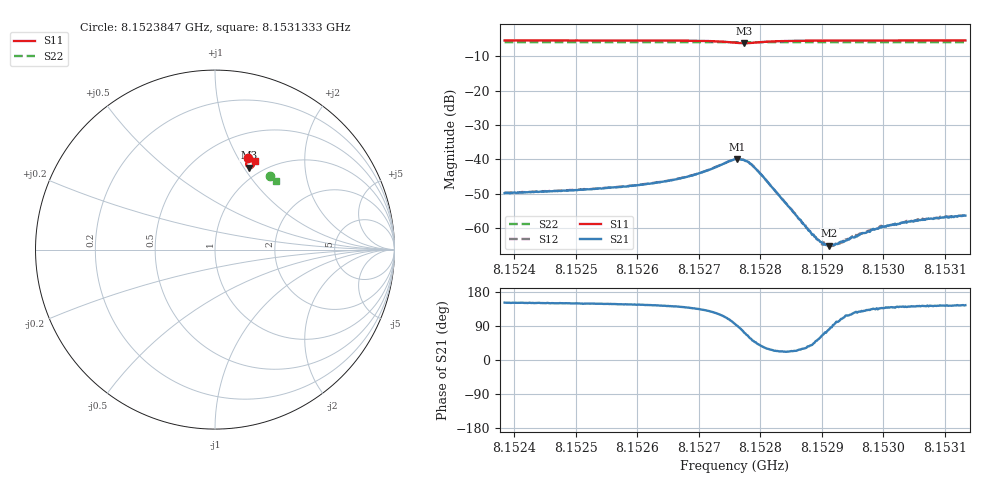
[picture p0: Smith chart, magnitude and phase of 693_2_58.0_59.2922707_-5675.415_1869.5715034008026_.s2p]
#  HZ  S  RI  R  50.00
! Rohde & Schwarz Vector Network Analyzer
! Rohde-Schwarz,ZNB20-2Port,1311601062101988,3.16
! Created: UTC 3/21/2024, 1:21:21 AM
! freq[Hz]  re:S11  im:S11  re:S21  im:S21  re:S12  im:S12  re:S22  im:S22
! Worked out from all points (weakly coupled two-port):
!   401 points, 8.1523847 GHz to 8.1531333 GHz, reference 50 ohm
!   highest |S21| = -39.88 dB at 8.1527628 GHz (marker M1); lowest = -65.1 dB at 8.1529125 GHz (marker M2)
!   lowest |S11| = -6.1 dB at 8.152774 GHz (marker M3), VSWR 2.95, Z = 43.6 + j52.6 ohm
!   |S11| at or under -10 dB: nowhere
!   |S22| runs from -5.9 to -5.8 dB; largest |S21 - S12| = 0.00046
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8.15238471e9  0.1826 0.5087  -0.00284 0.00155  -0.00285 0.0016  0.3053 0.4102
8.15251011e9  0.1926 0.505  -0.0031 0.00186  -0.00311 0.00191  0.3116 0.4051
8.15258497e9  0.1994 0.5017  -0.00338 0.00222  -0.00339 0.0023  0.3154 0.4022
8.1526355e9  0.2049 0.4986  -0.00374 0.00275  -0.00375 0.00279  0.318 0.3999
8.15269165e9  0.2126 0.4912  -0.00428 0.00409  -0.00426 0.0042  0.3207 0.3975
8.15271785e9  0.2165 0.4835  -0.00445 0.00553  -0.00437 0.00567  0.3219 0.396
8.15275903e9  0.2064 0.4578  -0.00088 0.0101  -0.000719 0.00996  0.3231 0.3938
8.15276277e9  0.2021 0.4561  -6.66e-05 0.0101  0.000181 0.0101  0.3231 0.3936
8.152774e9  0.1877 0.4564  0.003 0.00932  0.00314 0.00926  0.3231 0.3934
8.15278523e9  0.1768 0.4659  0.00481 0.00709  0.0049 0.0069  0.3235 0.3935
8.15279833e9  0.174 0.4791  0.00499 0.00415  0.00505 0.00406  0.3241 0.3935
8.15288442e9  0.1974 0.4993  0.000609 0.000511  0.000627 0.000544  0.3293 0.3903
8.15289752e9  0.1995 0.4993  0.000322 0.00054  0.000327 0.000518  0.3298 0.3897
8.15290501e9  0.2008 0.4991  0.000174 0.000557  0.000206 0.000542  0.3303 0.3895
8.1529125e9  0.2019 0.4991  8.02e-05 0.00055  6.66e-05 0.000565  0.3307 0.3891
8.15291811e9  0.2028 0.499  -2.2e-05 0.000575  -1.12e-05 0.000549  0.3309 0.3889
8.15292934e9  0.2042 0.4986  -0.000157 0.000604  -0.000169 0.000571  0.3316 0.3884
8.15295367e9  0.207 0.4982  -0.000425 0.000595  -0.000461 0.000653  0.3327 0.3873
8.15299297e9  0.2111 0.4972  -0.00072 0.000689  -0.000707 0.000741  0.3345 0.3857
8.15300982e9  0.2126 0.4967  -0.00082 0.000734  -0.000812 0.00074  0.3353 0.3848
8.15306035e9  0.2171 0.4953  -0.00102 0.00081  -0.00101 0.000831  0.3379 0.3829
8.15313334e9  0.2228 0.4932  -0.00124 0.00088  -0.00124 0.000897  0.3412 0.3796
